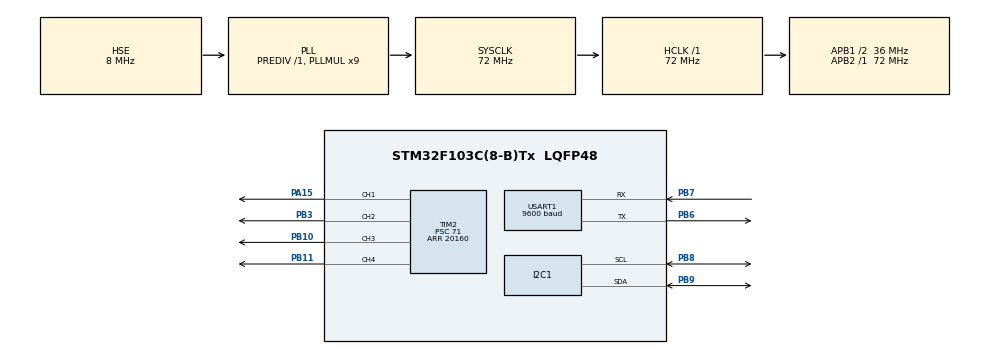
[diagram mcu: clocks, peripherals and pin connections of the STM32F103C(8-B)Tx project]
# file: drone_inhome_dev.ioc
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I2C1.OwnAddress=0x68
IWDG.Prescaler=IWDG_PRESCALER_64
IWDG.Reload=3000
Mcu.Family=STM32F1
Mcu.Name=STM32F103C(8-B)Tx
Mcu.Package=LQFP48
NVIC.PriorityGroup=NVIC_PRIORITYGROUP_4
NVIC.USART1_IRQn=true\:0\:0\:false\:false\:true\:true\:true\:true
PA13.Mode=Serial_Wire
PA13.Signal=SYS_JTMS-SWDIO
PA14.Mode=Serial_Wire
PA14.Signal=SYS_JTCK-SWCLK
PA15.Signal=S_TIM2_CH1_ETR
PB10.Signal=S_TIM2_CH3
PB11.Signal=S_TIM2_CH4
PB3.Signal=S_TIM2_CH2
PB6.Mode=Asynchronous
PB6.Signal=USART1_TX
PB7.Mode=Asynchronous
PB7.Signal=USART1_RX
PB8.Mode=I2C
PB8.Signal=I2C1_SCL
PB9.Mode=I2C
PB9.Signal=I2C1_SDA
PD0-OSC_IN.Mode=HSE-External-Oscillator
PD0-OSC_IN.Signal=RCC_OSC_IN
PD1-OSC_OUT.Mode=HSE-External-Oscillator
PD1-OSC_OUT.Signal=RCC_OSC_OUT
ProjectManager.HeapSize=0x200
ProjectManager.StackSize=0x400
ProjectManager.TargetToolchain=STM32CubeIDE
RCC.AHBFreq_Value=72000000
RCC.APB1CLKDivider=RCC_HCLK_DIV2
RCC.APB1Freq_Value=36000000
RCC.APB1TimFreq_Value=72000000
RCC.APB2Freq_Value=72000000
RCC.APB2TimFreq_Value=72000000
RCC.HCLKFreq_Value=72000000
RCC.PLLMUL=RCC_PLL_MUL9
RCC.PLLSourceVirtual=RCC_PLLSOURCE_HSE
RCC.SYSCLKFreq_VALUE=72000000
RCC.SYSCLKSource=RCC_SYSCLKSOURCE_PLLCLK
RCC.USBFreq_Value=72000000
SH.S_TIM2_CH1_ETR.0=TIM2_CH1,PWM Generation1 CH1
SH.S_TIM2_CH2.0=TIM2_CH2,PWM Generation2 CH2
SH.S_TIM2_CH3.0=TIM2_CH3,PWM Generation3 CH3
SH.S_TIM2_CH4.0=TIM2_CH4,PWM Generation4 CH4
TIM1.AutoReloadPreload=TIM_AUTORELOAD_PRELOAD_ENABLE
TIM1.Prescaler=719
TIM2.AutoReloadPreload=TIM_AUTORELOAD_PRELOAD_ENABLE
TIM2.Channel-PWM\ Generation1\ CH1=TIM_CHANNEL_1
TIM2.Channel-PWM\ Generation2\ CH2=TIM_CHANNEL_2
TIM2.Channel-PWM\ Generation3\ CH3=TIM_CHANNEL_3
TIM2.Channel-PWM\ Generation4\ CH4=TIM_CHANNEL_4
TIM2.Period=20160
TIM2.Prescaler=71
TIM2.Pulse-PWM\ Generation1\ CH1=1000
USART1.BaudRate=9600
USART1.VirtualMode=VM_ASYNC
VP_IWDG_VS_IWDG.Mode=IWDG_Activate
VP_TIM1_VS_ClockSourceINT.Mode=Internal
VP_TIM2_VS_ClockSourceINT.Mode=Internal
board=custom

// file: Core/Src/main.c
/* USER CODE BEGIN Header */
/**
  ******************************************************************************
  * @file           : main.c
  * @brief          : Main program body
  ******************************************************************************
  * @attention
  *
  * Copyright (c) 2024 STMicroelectronics.
  * All rights reserved.
  *
  * This software is licensed under terms that can be found in the LICENSE file
  * in the root directory of this software component.
  * If no LICENSE file comes with this software, it is provided AS-IS.
  *
  ******************************************************************************
  */
/* USER CODE END Header */
#include "main.h"

/* USER CODE BEGIN Includes */
#include <stdio.h>
#include <string.h>
#include <math.h>

/* USER CODE END Includes */

I2C_HandleTypeDef hi2c1;

IWDG_HandleTypeDef hiwdg;

TIM_HandleTypeDef htim1;
TIM_HandleTypeDef htim2;

UART_HandleTypeDef huart1;

void SystemClock_Config(void);
static void MX_GPIO_Init(void);
static void MX_USART1_UART_Init(void);
static void MX_TIM2_Init(void);
static void MX_I2C1_Init(void);
static void MX_TIM1_Init(void);
static void MX_IWDG_Init(void);

/* USER CODE BEGIN 0 */

enum e_connected_status
{
	E_UNCONNECTED,
	E_CONNECTED,
}typedef e_connected_status;

enum e_transfer_status
{
	E_NOT_READY_FOR_TRANSFER,
	E_READY_FOR_TRANSFER,
}typedef e_transfer_status;

e_connected_status status_connected = E_UNCONNECTED;

float g_elapsedTime = 0, g_elapsed_count = 0;
uint32_t g_prev_count = 0;
void UART_Print(const char* str);
char buffer[64];

uint32_t m1 = 0, m2 = 0, m3 = 0, m4 = 0;

int16_t Acc_rawX = 0, Acc_rawY = 0, Acc_rawZ = 0;

int16_t Gyr_rawX = 0, Gyr_rawY = 0, Gyr_rawZ = 0;

float Roll = 0, Pitch = 0, Yaw;
float Roll_filter = 0, Pitch_filter = 0, Yaw_filter = 0;
float gyroX_offset = 0, gyroY_offset = 0, gyroZ_offset = 0;

float roll_desire = 0, pitch_desire = 0, yaw_desire = 0;
float pid_roll = 0, pid_roll_p = 0, pid_roll_i = 0, pid_roll_d = 0, pid_roll_previous_error = 0, pid_roll_error = 0;
float pid_pitch = 0, pid_pitch_p = 0, pid_pitch_i = 0, pid_pitch_d = 0, pid_pitch_previous_error = 0, pid_pitch_error = 0;
float pid_yaw = 0, pid_yaw_p = 0, pid_yaw_i = 0, pid_yaw_d = 0, pid_yaw_previous_error = 0, pid_yaw_error = 0;

float kp_roll=3.55;//3.55
float ki_roll=0.005;//0.003
float kd_roll=2.05;//2.05

float kp_pitch=3.55;//3.55
float ki_pitch=0.005;//0.003
float kd_pitch=2.05;//2.05

float kp_yaw=3.55;//3.55
float ki_yaw=0.005;//0.003
float kd_yaw=2.05;//2.05

#define MPU6050_ADDR            0x68 << 1
#define MPU6050_WHO_AM_I        0x75
#define MPU6050_PWR_MGMT_1      0x6B
#define MPU6050_ACCEL_XOUT_H    0x3B
#define MPU6050_ACCEL_YOUT_H    0x3D
#define MPU6050_ACCEL_ZOUT_H    0x3F

#define RAD_TO_DEG 57.295779513082320876798154814105
#define UART_LOOPBACK_DATA 0
uint8_t receive_data[5] = {0};

struct st_data_tranfer
{
	e_transfer_status status;
	uint8_t count;
	uint8_t *data;

}typedef data_transfer;
data_transfer transferdata= {.data = &receive_data[0], .status = E_NOT_READY_FOR_TRANSFER, .count = 0};

uint8_t index_count_receive_data = 0;

e_transfer_status ready_to_convert = E_NOT_READY_FOR_TRANSFER;
void HAL_UART_RxCpltCallback(UART_HandleTypeDef *huart)
{
	index_count_receive_data+=5;
    ready_to_convert = E_READY_FOR_TRANSFER;

#if UART_LOOPBACK_DATA
    transferdata.status = E_READY_FOR_TRANSFER;
    HAL_UART_Transmit_IT(&huart1, transferdata.data, 1);
#endif
}

void HAL_UART_TxCpltCallback(UART_HandleTypeDef *huart)
{

#if UART_LOOPBACK_DATA
	if(transferdata.status == E_READY_FOR_TRANSFER)
	{
	    transferdata.count++;
	    transferdata.data = &receive_data[transferdata.count % 10];
		if(transferdata.count == index_count_receive_data)
		{
			transferdata.status = E_NOT_READY_FOR_TRANSFER;
		}
		else
		{
			HAL_UART_Transmit_IT(&huart1, transferdata.data, 1);
		}
	}
#endif
}

void UART_Print(const char* str)
{
    HAL_UART_Transmit_IT(&huart1, (uint8_t*)str, strlen(str));
}

void get_time_milis()
{
    uint32_t count = __HAL_TIM_GET_COUNTER(&htim1);

    if(count > g_prev_count)
    {
    	g_elapsedTime = (float) (((float)count - (float)g_prev_count)/(float)100000);
    }
    else
    {
    	g_elapsedTime =  ((((float)65535 - ((float)g_prev_count - (float)count))/(float)100000));
    }
	g_prev_count = count;
}

uint32_t throtle = 1050;
void converdata()
{
    if(ready_to_convert == E_READY_FOR_TRANSFER)
    {

    	ready_to_convert = E_NOT_READY_FOR_TRANSFER;

    	if(receive_data[0] == 'u')
    	{
    		throtle = (receive_data[1] - 48)*1000 + (receive_data[2] - 48)*100 + (receive_data[3] - 48) * 10 + (receive_data[4] - 48);
    	}
        HAL_UART_Receive_IT(&huart1, (uint8_t *)&receive_data, 5);
        status_connected = E_CONNECTED;
    }
}

void SetBrushMotor()
{
  if(throtle > 1050)
  {
	  if(m1 <= 2000)
	  {
		m1 = throtle + pid_roll - pid_pitch;
	  }
	  else
	  {
		  m1 = 2000;
	  }

	  if(m2 <= 2000)
	  {
		m2 = throtle + pid_roll + pid_pitch;
	  }
	  else
	  {
		  m2 = 2000;
	  }

	  if(m3 <= 2000)
	  {
		m3 = throtle - pid_roll + pid_pitch;
	  }
	  else
	  {
		  m3 = 2000;
	  }

	  if(m4 <= 2000)
	  {
		m4 = throtle - pid_roll - pid_pitch;
	  }
	  else
	  {
		  m4 = 2000;
	  }

  }

  else
  {
	  m1 = 1050;
	  m2 = 1050;
	  m3 = 1050;
	  m4 = 1050;

  }

  __HAL_TIM_SET_COMPARE(&htim2, TIM_CHANNEL_1, throtle);
  __HAL_TIM_SET_COMPARE(&htim2, TIM_CHANNEL_2, throtle);
  __HAL_TIM_SET_COMPARE(&htim2, TIM_CHANNEL_3, throtle);
  __HAL_TIM_SET_COMPARE(&htim2, TIM_CHANNEL_4, throtle);
  //__HAL_TIM_SET_COMPARE(&htim2, TIM_CHANNEL_2, m2);
  //__HAL_TIM_SET_COMPARE(&htim2, TIM_CHANNEL_3, m4);
  //__HAL_TIM_SET_COMPARE(&htim2, TIM_CHANNEL_4, m3);

}

void calculate_pid()
{

	if(throtle > 1150)
	{
		int32_t l_roll  = (int32_t ) ((Roll_filter > 0) ?  (Roll_filter + 0.5) : (Roll_filter - 0.5));
		int32_t l_pitch  = (int32_t ) ((Pitch_filter > 0) ?  (Pitch_filter + 0.5) : (Pitch_filter - 0.5));
		int32_t l_yaw  = (int32_t ) ((Yaw_filter > 0) ?  (Yaw_filter + 0.5) : (Yaw_filter - 0.5));
		pid_roll_error  = l_roll - roll_desire;
		pid_pitch_error = l_pitch - pitch_desire;
		pid_yaw_error   = l_yaw - yaw_desire;

		pid_roll_p  = kp_roll * pid_roll_error;
		pid_pitch_p = kp_pitch * pid_pitch_error;
		pid_yaw_p   = kp_yaw * pid_yaw_error;

		if(-5 <pid_roll_error <5)
		{
		   pid_roll_i = pid_roll_i+(ki_roll*pid_roll_error);
		}

		if(-5 <pid_pitch_error <5)
		{
			pid_pitch_i = pid_pitch_i+(ki_pitch*pid_pitch_error);
		}

		if(-5 <pid_yaw_error <5)
		{
			pid_yaw_i = pid_yaw_i+(ki_yaw*pid_yaw_error);
		}

		pid_roll_d = ki_roll*((pid_roll_error - pid_roll_previous_error)/g_elapsedTime);
		pid_pitch_d = ki_pitch*((pid_pitch_error - pid_pitch_previous_error)/g_elapsedTime);
		pid_yaw_d = ki_yaw*((pid_yaw_error - pid_yaw_previous_error)/g_elapsedTime);

		pid_roll  = pid_roll_p + pid_roll_i + pid_roll_d;
		pid_pitch = pid_pitch_p + pid_pitch_i + pid_pitch_d;
		pid_yaw   = pid_yaw_p + pid_yaw_i + pid_yaw_d;

		pid_roll_previous_error = pid_roll_error;
		pid_pitch_previous_error = pid_pitch_error;
		pid_yaw_previous_error = pid_yaw_error;
	}
	else
	{
		pid_roll_error  = 0;
		pid_pitch_error = 0;
		pid_yaw_error   = 0;
		pid_roll_previous_error = 0;
		pid_pitch_previous_error = 0;
		pid_yaw_previous_error = 0;

		pid_roll_p = 0;
		pid_roll_i = 0;
		pid_roll_d = 0;

		pid_pitch_p = 0;
		pid_pitch_i = 0;
		pid_pitch_d = 0;

		pid_yaw_p = 0;
		pid_yaw_i = 0;
		pid_yaw_d = 0;

	}

}

void MPU6050_Read_Accel(I2C_HandleTypeDef *hi2c, int16_t* Accel_X, int16_t* Accel_Y, int16_t* Accel_Z)
{
    uint8_t Rec_Data[6];

    // Read 6 BYTES of data starting from ACCEL_XOUT_H register
    HAL_I2C_Mem_Read(hi2c, MPU6050_ADDR, MPU6050_ACCEL_XOUT_H, 1, Rec_Data, 6, HAL_MAX_DELAY);

    *Accel_X = (int16_t)(Rec_Data[0] << 8 | Rec_Data[1]);
    *Accel_Y = (int16_t)(Rec_Data[2] << 8 | Rec_Data[3]);
    *Accel_Z = (int16_t)(Rec_Data[4] << 8 | Rec_Data[5]);
}

void MPU6050_Init(I2C_HandleTypeDef *hi2c)
{
    uint8_t check;
    uint8_t data;

    // Check device ID WHO_AM_I
    while (HAL_ERROR == HAL_I2C_Mem_Read(hi2c, MPU6050_ADDR, MPU6050_WHO_AM_I, 1, &check, 1, HAL_MAX_DELAY))
    {
    	;
    }

    if (check == 104) // 0x68 will be returned by the sensor if everything is ok
    {
        // Power management register 0X6B we should write all 0?�s to wake the sensor up
        data = 0;
        HAL_I2C_Mem_Write(hi2c, MPU6050_ADDR, MPU6050_PWR_MGMT_1, 1, &data, 1, HAL_MAX_DELAY);

        // Set DATA RATE of 1KHz by writing SMPLRT_DIV register
        data = 0x07;
        HAL_I2C_Mem_Write(hi2c, MPU6050_ADDR, 0x19, 1, &data, 1, HAL_MAX_DELAY);

        // Set accelerometer configuration in ACCEL_CONFIG Register
        data = 0x00; // +/- 2g (0x00 for 2g, 0x08 for 4g, 0x10 for 8g, 0x18 for 16g)
        HAL_I2C_Mem_Write(hi2c, MPU6050_ADDR, 0x1C, 1, &data, 1, HAL_MAX_DELAY);

        // Set gyroscopic configuration in GYRO_CONFIG Register
        data = 0x00; // +/- 250 degrees/sec
        HAL_I2C_Mem_Write(hi2c, MPU6050_ADDR, 0x1B, 1, &data, 1, HAL_MAX_DELAY);
    }
}

void MPU6050_Read_Gyro(I2C_HandleTypeDef *hi2c, int16_t* Gyro_X, int16_t* Gyro_Y, int16_t* Gyro_Z)
{
    uint8_t Rec_Data[6];

    // Read 6 BYTES of data starting from GYRO_XOUT_H register
    HAL_I2C_Mem_Read(hi2c, MPU6050_ADDR, 0x43, 1, Rec_Data, 6, HAL_MAX_DELAY);

    *Gyro_X = (int16_t)(Rec_Data[0] << 8 | Rec_Data[1]);
    *Gyro_Y = (int16_t)(Rec_Data[2] << 8 | Rec_Data[3]);
    *Gyro_Z = (int16_t)(Rec_Data[4] << 8 | Rec_Data[5]);
}

void MPU6050_Convert_to_Angle(float* Roll, float* Pitch, float* Yaw)
{
    float Accel_X_f = (float)Acc_rawX;
    float Accel_Y_f = (float)Acc_rawY;
    float Accel_Z_f = (float)Acc_rawZ;

    // Calculate the Roll angle (rotation around x-axis)
    *Roll = atan2(Accel_Y_f, Accel_Z_f) * RAD_TO_DEG;

    // Calculate the Pitch angle (rotation around y-axis)
    *Pitch = atan2(-Accel_X_f, sqrt(Accel_Y_f * Accel_Y_f + Accel_Z_f * Accel_Z_f)) * RAD_TO_DEG;

    *Yaw += (Gyr_rawZ / 131.0) * g_elapsedTime;
}
void MPU6050_calibrateGyroscope(I2C_HandleTypeDef *hi2c) {
    for (int i = 0; i < 1000; i++) {
        int16_t Gyro_X, Gyro_Y, Gyro_Z;
        MPU6050_Read_Gyro(hi2c, &Gyro_X, &Gyro_Y, &Gyro_Z);
        gyroX_offset += Gyro_X;
        gyroY_offset += Gyro_Y;
        gyroZ_offset += Gyro_Z;
        HAL_Delay(1);
    }
    gyroX_offset /= 1000;
    gyroY_offset /= 1000;
    gyroZ_offset /= 1000;
}

void MPU6050_Complementary_filter(I2C_HandleTypeDef *hi2c)
{

	Gyr_rawX -= gyroX_offset;
	Gyr_rawY -= gyroY_offset;
	Gyr_rawZ -= gyroZ_offset;

    // Convert gyroscope values to degrees per second
    float gyroRollRate = Gyr_rawX / 131.0;
    float gyroPitchRate = Gyr_rawY / 131.0;
    float gyroYawRate = Gyr_rawZ / 131.0;
    get_time_milis();

    Roll_filter = 0.98 * (Roll_filter + gyroRollRate * g_elapsedTime) + 0.02 * Roll;
    Pitch_filter = 0.98  * (Pitch_filter + gyroPitchRate * g_elapsedTime) + 0.02* Pitch;
    if (fabs(gyroYawRate) < 0.05) {
         gyroYawRate = 0;
    }

    Yaw_filter += gyroYawRate * g_elapsedTime;

}
/* USER CODE END 0 */

int main(void)
{

  /* MCU Configuration--------------------------------------------------------*/

  /* Reset of all peripherals, Initializes the Flash interface and the Systick. */
  HAL_Init();

  /* Configure the system clock */
  SystemClock_Config();

  /* Initialize all configured peripherals */
  MX_GPIO_Init();
  MX_USART1_UART_Init();
  MX_TIM2_Init();
  MX_I2C1_Init();
  MX_TIM1_Init();
  MX_IWDG_Init();
  /* USER CODE BEGIN 2 */

  MPU6050_Init(&hi2c1);

  MPU6050_calibrateGyroscope(&hi2c1);

  HAL_TIM_Base_Start(&htim1);
  HAL_UART_Receive_IT(&huart1, &receive_data[index_count_receive_data], 5);
  HAL_UART_Transmit_IT(&huart1, (uint8_t *) "ready\n", 6);

  HAL_TIM_PWM_Start(&htim2, TIM_CHANNEL_1);
  HAL_TIM_PWM_Start(&htim2, TIM_CHANNEL_2);
  HAL_TIM_PWM_Start(&htim2, TIM_CHANNEL_3);
  HAL_TIM_PWM_Start(&htim2, TIM_CHANNEL_4);
  __HAL_TIM_SET_COMPARE(&htim2, TIM_CHANNEL_1, 1050);
  __HAL_TIM_SET_COMPARE(&htim2, TIM_CHANNEL_2, 1050);
  __HAL_TIM_SET_COMPARE(&htim2, TIM_CHANNEL_3, 1050);
  __HAL_TIM_SET_COMPARE(&htim2, TIM_CHANNEL_4, 1050);

  /* USER CODE END 2 */

  /* Infinite loop */
  while (1)
  {

    /* USER CODE BEGIN 3 */
	  converdata();

      MPU6050_Read_Accel(&hi2c1,&Acc_rawX, &Acc_rawY, &Acc_rawZ);

      MPU6050_Read_Gyro(&hi2c1, &Gyr_rawX, &Gyr_rawY, &Gyr_rawZ);
      MPU6050_Convert_to_Angle(&Roll, &Pitch, &Yaw);
      MPU6050_Complementary_filter(&hi2c1);

      calculate_pid();
	  SetBrushMotor();

      if(status_connected == E_CONNECTED)
      {
    	  g_elapsed_count += g_elapsedTime;
    	  if(g_elapsed_count > 0.05f)
    	  {
    		  g_elapsed_count = 0;
              snprintf(buffer, sizeof(buffer), "Roll: %d Pitch: %d Yaw: %d\n", (int) Roll_filter, (int) Pitch_filter, (int)Yaw_filter);
              UART_Print(buffer);
    	  }
      }
      __HAL_IWDG_RELOAD_COUNTER(&hiwdg);

      // Process or display the data
  }
  /* USER CODE END 3 */
}

void SystemClock_Config(void)
{
  RCC_OscInitTypeDef RCC_OscInitStruct = {0};
  RCC_ClkInitTypeDef RCC_ClkInitStruct = {0};

  /** Initializes the RCC Oscillators according to the specified parameters
  * in the RCC_OscInitTypeDef structure.
  */
  RCC_OscInitStruct.OscillatorType = RCC_OSCILLATORTYPE_LSI|RCC_OSCILLATORTYPE_HSE;
  RCC_OscInitStruct.HSEState = RCC_HSE_ON;
  RCC_OscInitStruct.HSEPredivValue = RCC_HSE_PREDIV_DIV1;
  RCC_OscInitStruct.HSIState = RCC_HSI_ON;
  RCC_OscInitStruct.LSIState = RCC_LSI_ON;
  RCC_OscInitStruct.PLL.PLLState = RCC_PLL_ON;
  RCC_OscInitStruct.PLL.PLLSource = RCC_PLLSOURCE_HSE;
  RCC_OscInitStruct.PLL.PLLMUL = RCC_PLL_MUL9;
  if (HAL_RCC_OscConfig(&RCC_OscInitStruct) != HAL_OK)
  {
    Error_Handler();
  }

  /** Initializes the CPU, AHB and APB buses clocks
  */
  RCC_ClkInitStruct.ClockType = RCC_CLOCKTYPE_HCLK|RCC_CLOCKTYPE_SYSCLK
                              |RCC_CLOCKTYPE_PCLK1|RCC_CLOCKTYPE_PCLK2;
  RCC_ClkInitStruct.SYSCLKSource = RCC_SYSCLKSOURCE_PLLCLK;
  RCC_ClkInitStruct.AHBCLKDivider = RCC_SYSCLK_DIV1;
  RCC_ClkInitStruct.APB1CLKDivider = RCC_HCLK_DIV2;
  RCC_ClkInitStruct.APB2CLKDivider = RCC_HCLK_DIV1;

  if (HAL_RCC_ClockConfig(&RCC_ClkInitStruct, FLASH_LATENCY_2) != HAL_OK)
  {
    Error_Handler();
  }
}

static void MX_I2C1_Init(void)
{

  hi2c1.Instance = I2C1;
  hi2c1.Init.ClockSpeed = 100000;
  hi2c1.Init.DutyCycle = I2C_DUTYCYCLE_2;
  hi2c1.Init.OwnAddress1 = 208;
  hi2c1.Init.AddressingMode = I2C_ADDRESSINGMODE_7BIT;
  hi2c1.Init.DualAddressMode = I2C_DUALADDRESS_DISABLE;
  hi2c1.Init.OwnAddress2 = 0;
  hi2c1.Init.GeneralCallMode = I2C_GENERALCALL_DISABLE;
  hi2c1.Init.NoStretchMode = I2C_NOSTRETCH_DISABLE;
  if (HAL_I2C_Init(&hi2c1) != HAL_OK)
  {
    Error_Handler();
  }

}

static void MX_IWDG_Init(void)
{

  hiwdg.Instance = IWDG;
  hiwdg.Init.Prescaler = IWDG_PRESCALER_64;
  hiwdg.Init.Reload = 3000;
  if (HAL_IWDG_Init(&hiwdg) != HAL_OK)
  {
    Error_Handler();
  }

}

static void MX_TIM1_Init(void)
{

  TIM_ClockConfigTypeDef sClockSourceConfig = {0};
  TIM_MasterConfigTypeDef sMasterConfig = {0};

  htim1.Instance = TIM1;
  htim1.Init.Prescaler = 719;
  htim1.Init.CounterMode = TIM_COUNTERMODE_UP;
  htim1.Init.Period = 65535;
  htim1.Init.ClockDivision = TIM_CLOCKDIVISION_DIV1;
  htim1.Init.RepetitionCounter = 0;
  htim1.Init.AutoReloadPreload = TIM_AUTORELOAD_PRELOAD_ENABLE;
  if (HAL_TIM_Base_Init(&htim1) != HAL_OK)
  {
    Error_Handler();
  }
  sClockSourceConfig.ClockSource = TIM_CLOCKSOURCE_INTERNAL;
  if (HAL_TIM_ConfigClockSource(&htim1, &sClockSourceConfig) != HAL_OK)
  {
    Error_Handler();
  }
  sMasterConfig.MasterOutputTrigger = TIM_TRGO_RESET;
  sMasterConfig.MasterSlaveMode = TIM_MASTERSLAVEMODE_DISABLE;
  if (HAL_TIMEx_MasterConfigSynchronization(&htim1, &sMasterConfig) != HAL_OK)
  {
    Error_Handler();
  }

}

static void MX_TIM2_Init(void)
{

  TIM_ClockConfigTypeDef sClockSourceConfig = {0};
  TIM_MasterConfigTypeDef sMasterConfig = {0};
  TIM_OC_InitTypeDef sConfigOC = {0};

  htim2.Instance = TIM2;
  htim2.Init.Prescaler = 71;
  htim2.Init.CounterMode = TIM_COUNTERMODE_UP;
  htim2.Init.Period = 20160;
  htim2.Init.ClockDivision = TIM_CLOCKDIVISION_DIV1;
  htim2.Init.AutoReloadPreload = TIM_AUTORELOAD_PRELOAD_ENABLE;
  if (HAL_TIM_Base_Init(&htim2) != HAL_OK)
  {
    Error_Handler();
  }
  sClockSourceConfig.ClockSource = TIM_CLOCKSOURCE_INTERNAL;
  if (HAL_TIM_ConfigClockSource(&htim2, &sClockSourceConfig) != HAL_OK)
  {
    Error_Handler();
  }
  if (HAL_TIM_PWM_Init(&htim2) != HAL_OK)
  {
    Error_Handler();
  }
  sMasterConfig.MasterOutputTrigger = TIM_TRGO_RESET;
  sMasterConfig.MasterSlaveMode = TIM_MASTERSLAVEMODE_DISABLE;
  if (HAL_TIMEx_MasterConfigSynchronization(&htim2, &sMasterConfig) != HAL_OK)
  {
    Error_Handler();
  }
  sConfigOC.OCMode = TIM_OCMODE_PWM1;
  sConfigOC.Pulse = 1000;
  sConfigOC.OCPolarity = TIM_OCPOLARITY_HIGH;
  sConfigOC.OCFastMode = TIM_OCFAST_DISABLE;
  if (HAL_TIM_PWM_ConfigChannel(&htim2, &sConfigOC, TIM_CHANNEL_1) != HAL_OK)
  {
    Error_Handler();
  }
  sConfigOC.Pulse = 0;
  if (HAL_TIM_PWM_ConfigChannel(&htim2, &sConfigOC, TIM_CHANNEL_2) != HAL_OK)
  {
    Error_Handler();
  }
  if (HAL_TIM_PWM_ConfigChannel(&htim2, &sConfigOC, TIM_CHANNEL_3) != HAL_OK)
  {
    Error_Handler();
  }
  if (HAL_TIM_PWM_ConfigChannel(&htim2, &sConfigOC, TIM_CHANNEL_4) != HAL_OK)
  {
    Error_Handler();
  }
  HAL_TIM_MspPostInit(&htim2);

}

static void MX_USART1_UART_Init(void)
{

  huart1.Instance = USART1;
  huart1.Init.BaudRate = 9600;
  huart1.Init.WordLength = UART_WORDLENGTH_8B;
  huart1.Init.StopBits = UART_STOPBITS_1;
  huart1.Init.Parity = UART_PARITY_NONE;
  huart1.Init.Mode = UART_MODE_TX_RX;
  huart1.Init.HwFlowCtl = UART_HWCONTROL_NONE;
  huart1.Init.OverSampling = UART_OVERSAMPLING_16;
  if (HAL_UART_Init(&huart1) != HAL_OK)
  {
    Error_Handler();
  }

}

static void MX_GPIO_Init(void)
{

  /* GPIO Ports Clock Enable */
  __HAL_RCC_GPIOD_CLK_ENABLE();
  __HAL_RCC_GPIOB_CLK_ENABLE();
  __HAL_RCC_GPIOA_CLK_ENABLE();

}

void Error_Handler(void)
{
  __disable_irq();
  while (1)
  {
  }
}
